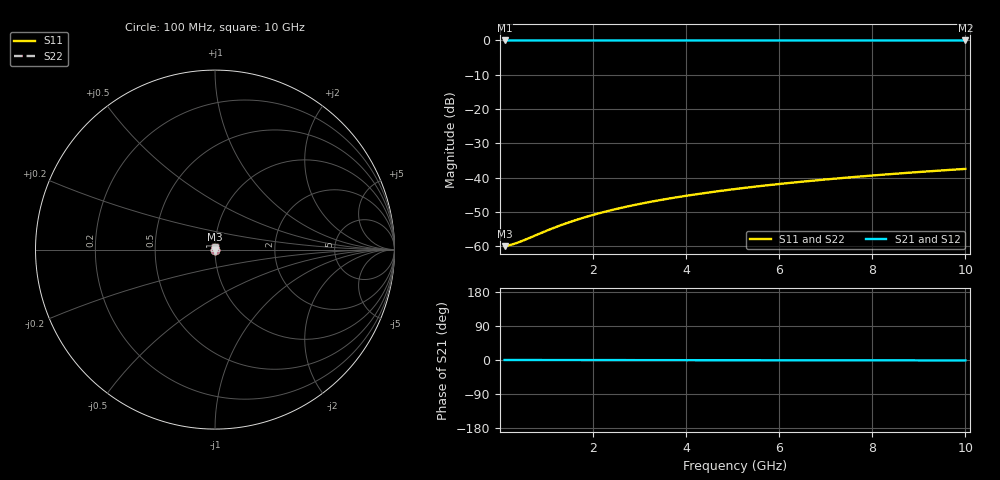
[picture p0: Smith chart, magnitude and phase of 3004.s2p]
# Hz S RI R 50.00
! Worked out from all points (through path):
!   100 points, 100 MHz to 10 GHz, reference 50 ohm
!   highest |S21| = -0.01 dB at 100 MHz (marker M1); lowest = 0.0 dB at 10 GHz (marker M2)
!   lowest |S11| = -60.0 dB at 100 MHz (marker M3), VSWR 1.00, Z = 50.1 + j0.0133 ohm
!   |S11| at or under -10 dB: start of sweep to end of sweep
!   |S22| runs from -60.0 to -37.5 dB; largest |S21 - S12| = 0
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1e8  0.000993 0.000133  0.999 -0.000193  0.999 -0.000193  0.000993 0.000133
2e8  0.000999 0.000266  0.999 -0.000385  0.999 -0.000385  0.000999 0.000266
3e8  0.001 0.000399  0.999 -0.000578  0.999 -0.000578  0.001 0.000399
4e8  0.00101 0.000532  0.999 -0.00077  0.999 -0.00077  0.00101 0.000532
6e8  0.00102 0.000798  0.999 -0.00116  0.999 -0.00116  0.00102 0.000798
1e9  0.00103 0.00133  0.999 -0.00193  0.999 -0.00193  0.00103 0.00133
1.2e9  0.00103 0.0016  0.999 -0.00231  0.999 -0.00231  0.00103 0.0016
1.5e9  0.00104 0.00199  0.999 -0.00289  0.999 -0.00289  0.00104 0.00199
1.8e9  0.00104 0.00239  0.999 -0.00347  0.999 -0.00347  0.00104 0.00239
2.1e9  0.00105 0.00279  0.9989 -0.00404  0.9989 -0.00404  0.00105 0.00279
2.5e9  0.00106 0.00332  0.9989 -0.00481  0.9989 -0.00481  0.00106 0.00332
2.9e9  0.00107 0.00386  0.9989 -0.00558  0.9989 -0.00558  0.00107 0.00386
3.4e9  0.00108 0.00452  0.9989 -0.00655  0.9989 -0.00655  0.00108 0.00452
3.8e9  0.00109 0.00505  0.9989 -0.00732  0.9989 -0.00732  0.00109 0.00505
4.2e9  0.00111 0.00559  0.9989 -0.00809  0.9989 -0.00809  0.00111 0.00559
4.6e9  0.00112 0.00612  0.9989 -0.00886  0.9989 -0.00886  0.00112 0.00612
5.1e9  0.00113 0.00679  0.9989 -0.00983  0.9989 -0.00983  0.00113 0.00679
5.9e9  0.00116 0.00785  0.9988 -0.0114  0.9988 -0.0114  0.00116 0.00785
6.7e9  0.00119 0.00892  0.9988 -0.0129  0.9988 -0.0129  0.00119 0.00892
7.5e9  0.00123 0.00999  0.9988 -0.0145  0.9988 -0.0145  0.00123 0.00999
8.4e9  0.00127 0.0112  0.9987 -0.0162  0.9987 -0.0162  0.00127 0.0112
1e10  0.00136 0.0133  0.9986 -0.0193  0.9986 -0.0193  0.00136 0.0133
